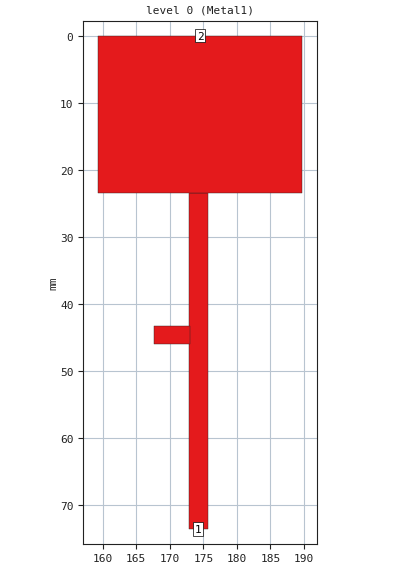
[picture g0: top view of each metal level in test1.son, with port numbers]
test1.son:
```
FTYP SONPROJ 19 ! Sonnet Project File
VER 18.53
HEADER
LIC SL66199d8c
DAT 05/02/2024 23:37:12
BUILT_BY_CREATED xgeom 18.53-Lite 05/02/2024 23:28:25
BUILT_BY_SAVED sonnet 18.53-Lite
MDATE 05/02/2024 23:31:49
HDATE 05/02/2024 23:31:49
END HEADER
DIM
ANG DEG
CAP PF
CON /OH
FREQ GHZ
IND NH
LNG MM
RES OH
END DIM
CONTROL
VARSWP
OPTIONS  -d
SPEED 0
CACHE_ABS 2
Q_ACC N
END CONTROL
GEO
TMET "Free Space" 0 FREESPACE 376.7303136 0 0 0
BMET "Lossless" 0 SUP 0 0 0 0
BOX 1 350 73.5 1400 294 20 0
      2 1 1 0 0 0 0 "Air"
      1.5 4.4 1 0.02 0 0 0 "FR-4"
TECHLAY METAL Metal1 <UNSPECIFIED> -2 -65534 
0 0 -1 N 9 1 1 100 100 0 0 0 Y
END
END
DIM STD XDIR 1
POS 0.8019817052 -0.203599023
NOM 30.41
REF1 POLY 18 1
0
REF2 POLY 18 1
1
END
DIM STD YDIR 1
POS 0.210628096 0.5930666965
NOM 23.45
REF1 POLY 18 1
1
REF2 POLY 18 1
2
END
DIM STD XDIR 1
POS 0.08084488835 0.527149187
NOM 2.86778905
REF1 POLY 15 1
0
REF2 POLY 15 1
1
END
DIM STD XDIR 1
POS 0.129827108 -0.06637034679
NOM 5.42123
REF1 POLY 17 1
0
REF2 POLY 17 1
1
END
DIM STD YDIR 1
POS -0.2044274557 0.2348830219
NOM 19.75
REF1 POLY 18 1
3
REF2 POLY 17 1
0
END
DIM STD YDIR 1
POS -35.16589649 69.56202562
NOM 73.5
REF1 POLY 18 1
0
REF2 POLY 15 1
3
END
LORGN 0 6.35 U 
POR1 BOX
POLY 15 1
2
1 50 0 0 0 174.2288945 73.5 
POR1 BOX
POLY 18 1
0
2 50 0 0 0 174.5 0 
NUM 3
0 5 -1 N 15 1 1 100 100 0 0 0 Y
TLAYNAM Metal1 INH
172.795 23.5
175.662789 23.5
175.662789 73.5
172.795 73.5
172.795 23.5
END
0 5 -1 N 17 1 1 100 100 0 0 0 Y
TLAYNAM Metal1 INH
167.584385 43.2
173.005615 43.2
173.005615 46
167.584385 46
167.584385 43.2
END
0 5 -1 N 18 1 1 100 100 0 0 0 Y
TLAYNAM Metal1 INH
159.295 0
189.705 0
189.705 23.45
159.295 23.45
159.295 0
END
END GEO
OPT
MAX 100
END OPT
VARSWP
ENABLED Y
FREQ Y AY ABS_ENTRY 2.0 8.0 -1 300 
END
END VARSWP
```
